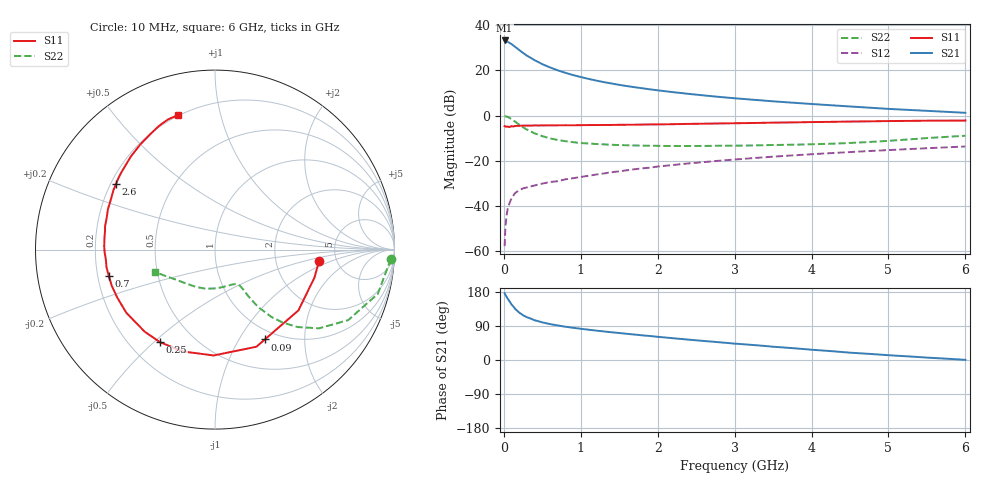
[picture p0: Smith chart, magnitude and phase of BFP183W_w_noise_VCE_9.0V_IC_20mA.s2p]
! Infineon Technologies  Discrete & RF Semiconductors
! BFP183W
! VCE =  9.0 V,  IC =  20 mA
! Common Emitter S-Parameters:  Jan 2017
# GHz  S  MA  R  50
!  f  S11  S21  S12  S22
! GHz  MAG  ANG  MAG  ANG  MAG  ANG  MAG  ANG
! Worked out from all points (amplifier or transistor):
!   77 points, 10 MHz to 6 GHz, reference 50 ohm
!   highest |S21| = 33.2 dB at 10 MHz (marker M1)
!   |S21| within 3 dB of that: start of sweep to 154.4 MHz
!   unconditionally stable (mu >= 1): 1.24 GHz to 3.539 GHz
!   at 130 MHz: K = 0.23, MSG = 32.9 dB, |S12| = -35.0 dB
!   at 2.2 GHz: K = 1.06, MAG = 14.6 dB, |S12| = -21.8 dB
!   at 6 GHz: K = 0.86, MSG = 7.4 dB, |S12| = -13.7 dB
!   lowest NFmin = 1.17 dB at 450 MHz
!   S11 on the Smith chart (normalised r, x): 10 MHz: 3.65, -0.71; 90 MHz: 0.87, -1.30; 250 MHz: 0.32, -0.52; 700 MHz: 0.25, -0.11; 2.6 GHz: 0.22, +0.29; 6 GHz: 0.20, +0.75
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0.01  0.5833 -6.3  45.79 176.3  0.0013 75.9  0.9816 -3.0
0.02  0.5755 -15.9  45.2 172.1  0.0034 87.0  0.9659 -6.2
0.05  0.5751 -36.1  43.04 161.8  0.0087 75.0  0.9401 -15.2
0.09  0.5725 -61.0  38.92 149.8  0.0136 67.1  0.8563 -25.1
0.1  0.5883 -66.9  38.19 146.4  0.0148 65.9  0.8398 -27.9
0.15  0.5899 -90.7  32.86 134.4  0.0197 55.8  0.7271 -37.1
0.2  0.5954 -107.7  28.12 125.1  0.0222 50.7  0.6303 -43.2
0.25  0.6 -120.8  24.28 118.1  0.0247 47.4  0.5527 -47.2
0.3  0.6021 -130.6  21.14 112.8  0.0259 45.7  0.4904 -50.0
0.4  0.6065 -144.5  16.75 104.8  0.0286 45.7  0.405 -52.9
0.5  0.6066 -153.8  13.7 99.3  0.0314 44.8  0.3512 -53.9
0.6  0.6095 -160.7  11.61 94.8  0.034 46.6  0.3141 -54.5
0.7  0.61 -166.3  10.02 91.2  0.0355 48.9  0.2886 -54.5
0.9  0.6106 -174.9  7.853 85.0  0.0413 51.5  0.2584 -55.0
1.1  0.6176 178.5  6.48 80.0  0.0467 53.8  0.2418 -55.8
1.5  0.6258 168.2  4.78 71.2  0.0585 56.7  0.2232 -59.4
2.1  0.6422 155.3  3.455 59.4  0.0778 57.7  0.2134 -69.8
2.6  0.6619 146.4  2.79 50.2  0.0938 56.8  0.2135 -81.5
3.1  0.6811 138.2  2.342 41.8  0.1101 55.0  0.2173 -93.8
4.1  0.722 124.0  1.76 25.7  0.1432 50.4  0.2349 -119.5
5.1  0.7597 113.3  1.379 11.4  0.1762 44.9  0.2845 -145.4
6  0.7774 105.2  1.152 0.4  0.2075 39.1  0.3587 -159.9
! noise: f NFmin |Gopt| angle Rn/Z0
0.45  1.17  0.2  171  0.1
0.9  1.2  0.25  174  0.09
1.9  1.68  0.41  -163  0.08
2.4  1.92  0.45  -157  0.12
